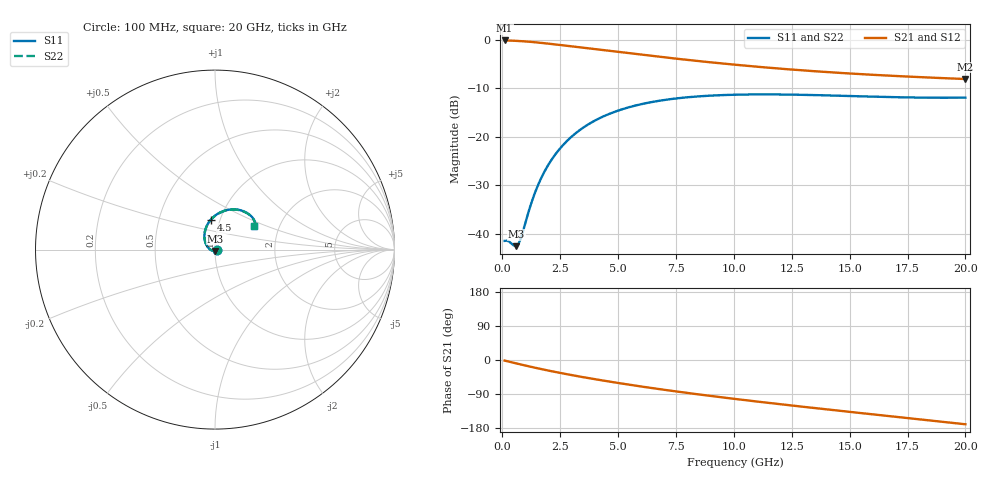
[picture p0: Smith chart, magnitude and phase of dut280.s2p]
! Touchstone file exported from HFSS 2024.1.0
!  File:  C:/UserFiles/LocalFiles/RDL_TSV_Batchsim/temp_RDL_TSV_280_1779464322.aedt
!  Generated:  11:55:34 PM May 22, 2026
!  Design:  RDL_TSV
!  Project:  temp_RDL_TSV_280_1779464322
!  Setup:  Setup1
!  Solution:  Sweep
! Variables:
!  dtsv = 7.4um
!  hbump = 3um
!  htsv = 99.69um
!  ldown = 330.64um
!  lrdl = 286.42um
!  p = 40
!  p1 = 50.46um
!  rhole = 10um
!  subl = 2137.6um
!  t = 450um
!  tdown = 4.42um
!  trdl = 4.73um
!  viad = 10um
!  wdown = 25.03um
!  wrdl = 24.67um
!  xbump = 18um
# GHz S MA R 50.000000
! Terminal data exported
! Port[1] = TM1_1_T1
! Port[2] = TM1_4_T1
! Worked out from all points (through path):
!   200 points, 100 MHz to 20 GHz, reference 50 ohm
!   highest |S21| = -0.08 dB at 100 MHz (marker M1); lowest = -8.0 dB at 20 GHz (marker M2)
!   group delay of S21, straight-line fit = 22.2 ps
!   lowest |S11| = -42.6 dB at 600 MHz (marker M3), VSWR 1.01, Z = 50.2 - j0.726 ohm
!   |S11| at or under -10 dB: start of sweep to end of sweep
!   |S22| runs from -42.6 to -11.3 dB; largest |S21 - S12| = 1.7e-14
!   S11 on the Smith chart (normalised r, x): 100 MHz: 1.02, -0.00; 4.5 GHz: 0.90, +0.31; 20 GHz: 1.48, +0.42
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0.1  0.008419 -6.7  0.9912 -1.5  0.9912 -1.5  0.00842 -6.7
! Gamma 0 0 0 0
! Port Impedance 50 0 50 0
0.3  0.008267 -27.4  0.9884 -4.5  0.9884 -4.5  0.008275 -27.4
0.6  0.007424 -77.0  0.9819 -9.0  0.9819 -9.0  0.007442 -76.8
0.7  0.007833 -97.8  0.979 -10.4  0.979 -10.4  0.007846 -97.5
0.8  0.008916 -117.5  0.9757 -11.9  0.9757 -11.9  0.008916 -117.1
1.2  0.01889 -166.9  0.9598 -17.5  0.9598 -17.5  0.01882 -166.7
1.4  0.02604 179.5  0.9503 -20.2  0.9503 -20.2  0.02592 179.8
1.6  0.03407 169.1  0.9401 -22.9  0.9401 -22.9  0.03392 169.3
1.9  0.04731 156.8  0.9239 -26.8  0.9239 -26.8  0.04709 156.9
2.2  0.06149 146.7  0.907 -30.5  0.907 -30.5  0.06121 146.8
2.6  0.08111 135.3  0.884 -35.3  0.884 -35.3  0.08074 135.4
3  0.1008 125.7  0.8611 -39.9  0.8611 -39.9  0.1004 125.7
3.5  0.1248 115.2  0.8329 -45.4  0.8329 -45.4  0.1243 115.2
4.5  0.1681 98.0  0.7794 -55.7  0.7794 -55.7  0.1673 98.0
5.6  0.2063 83.1  0.7251 -66.3  0.7251 -66.3  0.2054 83.2
6.8  0.2366 70.3  0.6715 -77.0  0.6715 -77.0  0.2355 70.3
8.4  0.2613 57.1  0.6095 -90.2  0.6095 -90.2  0.2601 57.1
10.1  0.2728 46.8  0.5551 -103.1  0.5551 -103.1  0.2715 46.7
11.7  0.2745 39.8  0.5137 -114.6  0.5137 -114.6  0.2732 39.7
13.4  0.2705 34.6  0.4784 -126.2  0.4784 -126.2  0.2692 34.6
16.7  0.2579 30.5  0.429 -148.0  0.429 -148.0  0.2567 30.4
20  0.2545 31.8  0.396 -169.6  0.396 -169.6  0.2533 31.7
